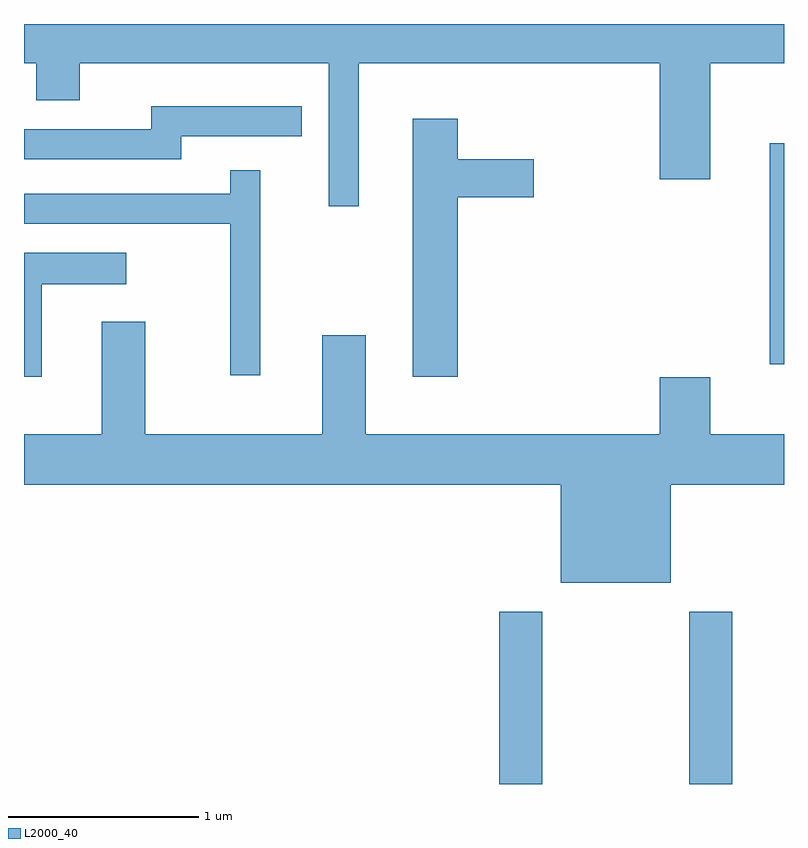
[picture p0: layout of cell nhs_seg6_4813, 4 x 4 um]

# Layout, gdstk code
import gdstk
lib = gdstk.Library(unit=1e-6, precision=1e-09)
def R(c, l, rs):  # rectangles x0, y0, x1, y1
    for r in rs: c.add(gdstk.rectangle(r[:2], r[2:], *l))
def P(c, l, *ps):  # polygons
    for p in ps: c.add(gdstk.Polygon(p, *l))
L2000_40 = (2000, 40)

nhs_seg6_4813 = lib.new_cell('nhs_seg6_4813')
R(nhs_seg6_4813, L2000_40, [(334.111,1626.162,334.339,1627.069), (335.111,1626.162,335.339,1627.069), (335.536,1628.371,335.611,1629.534)])
P(nhs_seg6_4813, L2000_40, [(333.374,1629.956),(334.956,1629.956),(334.956,1629.346),(335.224,1629.346),(335.224,1629.956),(335.611,1629.956),(335.611,1630.162),(331.611,1630.162),(331.611,1629.956),(331.676,1629.956),(331.676,1629.761),(331.904,1629.761),(331.904,1629.956),(333.216,1629.956),(333.216,1629.203),(333.374,1629.203)],
  [(332.439,1629.571),(333.073,1629.571),(333.073,1629.729),(332.281,1629.729),(332.281,1629.609),(331.611,1629.609),(331.611,1629.451),(332.439,1629.451)],
  [(333.894,1629.251),(334.294,1629.251),(334.294,1629.449),(333.894,1629.449),(333.894,1629.664),(333.656,1629.664),(333.656,1628.306),(333.894,1628.306)],
  [(332.854,1629.393),(332.696,1629.393),(332.696,1629.269),(331.611,1629.269),(331.611,1629.111),(332.696,1629.111),(332.696,1628.313),(332.854,1628.313)],
  [(331.704,1628.791),(332.148,1628.791),(332.148,1628.959),(331.611,1628.959),(331.611,1628.306),(331.704,1628.306)],
  [(335.014,1627.736),(335.611,1627.736),(335.611,1628.004),(335.224,1628.004),(335.224,1628.304),(334.956,1628.304),(334.956,1628.004),(333.409,1628.004),(333.409,1628.524),(333.181,1628.524),(333.181,1628.004),(332.249,1628.004),(332.249,1628.594),(332.021,1628.594),(332.021,1628.004),(331.611,1628.004),(331.611,1627.736),(334.436,1627.736),(334.436,1627.221),(335.014,1627.221)])

lib.write_gds('nhs_seg6_4813.gds')
